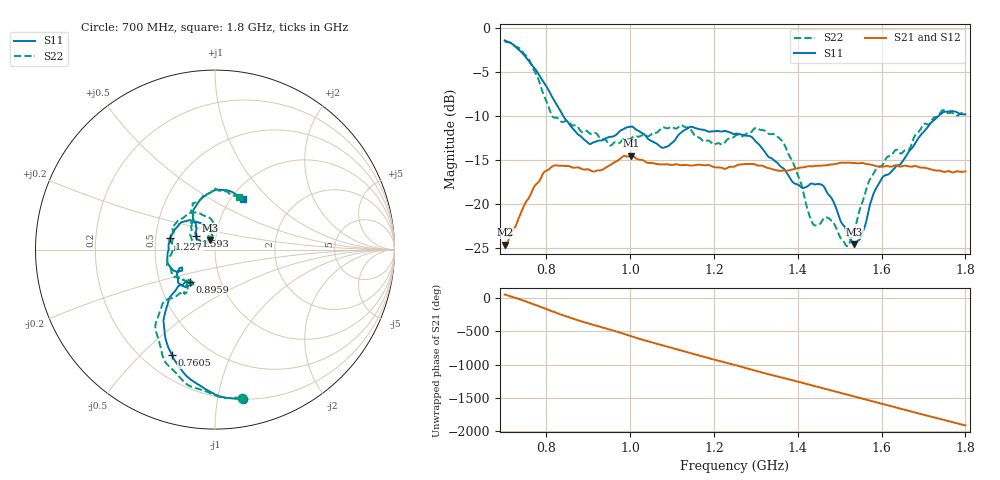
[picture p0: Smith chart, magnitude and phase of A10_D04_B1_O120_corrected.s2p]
! Created with skrf 1.9.0 (http://scikit-rf.org).
# Hz S RI R 50.0
!freq ReS11 ImS11 ReS21 ImS21 ReS12 ImS12 ReS22 ImS22
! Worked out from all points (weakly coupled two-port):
!   1601 points, 700 MHz to 1.8 GHz, reference 50 ohm
!   highest |S21| = -14.52 dB at 1.002 GHz (marker M1); lowest = -24.6 dB at 702.1 MHz (marker M2)
!   lowest |S11| = -24.6 dB at 1.535 GHz (marker M3), VSWR 1.13, Z = 47.3 + j5.05 ohm
!   |S11| at or under -10 dB: 840.1 MHz to 1.736 GHz (895.6 MHz wide, 69.5 % of centre)
!   |S22| runs from -24.8 to -1.5 dB; largest |S21 - S12| = 0.0034
!   S11 on the Smith chart (normalised r, x): 700 MHz: 0.20, -1.19; 760.5 MHz: 0.32, -0.62; 895.9 MHz: 0.71, -0.27; 1.227 GHz: 0.59, +0.08; 1.593 GHz: 0.80, +0.12; 1.8 GHz: 1.12, +0.71
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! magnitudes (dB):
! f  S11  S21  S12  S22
! 700 MHz  -1.4  -24.6  -24.4  -1.5
! 702.1 MHz  -1.5  -24.6  -24.2  -1.6
! 760.5 MHz  -3.9  -19.1  -18.9  -3.8
! 814.1 MHz  -7.9  -15.7  -15.7  -10.0
! 883.6 MHz  -12.4  -16.0  -15.9  -11.8
! 895.9 MHz  -12.9  -16.0  -16.1  -11.7
! 952.3 MHz  -12.4  -15.5  -15.5  -13.4
! 1.002 GHz  -11.2  -14.5  -14.6  -12.5
! 1.067 GHz  -13.3  -15.5  -15.4  -11.7
! 1.143 GHz  -11.2  -15.6  -15.6  -11.5
! 1.227 GHz  -11.7  -16.0  -15.9  -12.9
! 1.25 GHz  -12.0  -15.7  -15.6  -12.3
! 1.361 GHz  -15.8  -16.2  -16.2  -12.7
! 1.434 GHz  -17.7  -15.7  -15.7  -22.0
! 1.476 GHz  -19.1  -15.5  -15.5  -21.7
! 1.517 GHz  -23.1  -15.3  -15.3  -24.8
! 1.535 GHz  -24.6  -15.3  -15.3  -23.0
! 1.568 GHz  -20.8  -15.5  -15.5  -17.6
! 1.593 GHz  -17.7  -15.7  -15.7  -15.8
! 1.617 GHz  -16.6  -15.7  -15.7  -14.6
! 1.742 GHz  -9.7  -16.2  -16.2  -9.5
! 1.8 GHz  -9.8  -16.3  -16.3  -9.9
